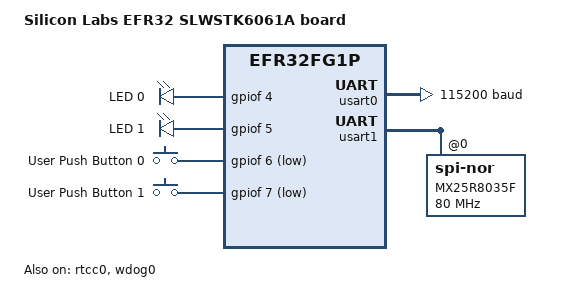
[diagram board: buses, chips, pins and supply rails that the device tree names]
/*
 * Copyright (c) 2018 Christian Taedcke
 *
 * SPDX-License-Identifier: Apache-2.0
 */

/dts-v1/;
#include <silabs/efr32fg1p133f256gm48.dtsi>

/ {
	model = "Silicon Labs EFR32 SLWSTK6061A board";
	compatible = "silabs,efr32_slwstk6061a", "silabs,efr32fg1p";

	chosen {
		zephyr,console = &usart0;
		zephyr,shell-uart = &usart0;
		zephyr,sram = &sram0;
		zephyr,flash = &flash0;
		zephyr,code-partition = &slot0_partition;
	};

	/* These aliases are provided for compatibility with samples */
	aliases {
		led0 = &led0;
		led1 = &led1;
		sw0 = &button0;
		sw1 = &button1;
		watchdog0 = &wdog0;
	};

	leds {
		compatible = "gpio-leds";
		led0: led_0 {
			gpios = <&gpiof 4 0>;
			label = "LED 0";
		};
		led1: led_1 {
			gpios = <&gpiof 5 0>;
			label = "LED 1";
		};
	};

	buttons {
		compatible = "gpio-keys";
		button0: button_0 {
			/* gpio flags need validation */
			gpios = <&gpiof 6 GPIO_ACTIVE_LOW>;
			label = "User Push Button 0";
		};
		button1: button_1 {
			/* gpio flags need validation */
			gpios = <&gpiof 7 GPIO_ACTIVE_LOW>;
			label = "User Push Button 1";
		};
	};

};

&cpu0 {
	clock-frequency = <38400000>;
};

&usart0 {
	current-speed = <115200>;
	location-rx = <GECKO_LOCATION(0) GECKO_PORT_A GECKO_PIN(1)>;
	location-tx = <GECKO_LOCATION(0) GECKO_PORT_A GECKO_PIN(0)>;
	status = "okay";
};

&usart1 {
	compatible = "silabs,gecko-spi-usart";

	#address-cells = <1>;
	#size-cells = <0>;

	location-rx = <GECKO_LOCATION(11) GECKO_PORT_C GECKO_PIN(7)>;
	location-tx = <GECKO_LOCATION(11) GECKO_PORT_C GECKO_PIN(6)>;
	location-clk = <GECKO_LOCATION(11) GECKO_PORT_C GECKO_PIN(8)>;

	cs-gpios = <&gpioa 4 0>;

	status = "okay";

	mx25r80: mx25r8035f@0 {
		compatible = "jedec,spi-nor";
		label = "MX25R8035F";
		reg = <0>;
		spi-max-frequency = <80000000>;
		size = <0x800000>;
		has-be32k;
		jedec-id = [c2 28 14];
	};
};

&rtcc0 {
	prescaler = <1>;
	status = "okay";
};

&gpio {
	location-swo = <0>;
	status = "okay";
};

&gpioa {
	status = "okay";
};

&gpiob {
	status = "okay";
};

&gpioc {
	status = "okay";
};

&gpiod {
	status = "okay";
};

&gpiof {
	status = "okay";
};

&wdog0 {
	status = "okay";
};

&flash0 {
	/*
	 * For more information, see:
	 * http://docs.zephyrproject.org/latest/guides/dts/index.html#flash-partitions
	 */
	partitions {
		compatible = "fixed-partitions";
		#address-cells = <1>;
		#size-cells = <1>;

		/* Reserve 32 kB for the bootloader */
		boot_partition: partition@0 {
			label = "mcuboot";
			reg = <0x0 0x00008000>;
			read-only;
		};

		/* Reserve 94 kB for the application in slot 0 */
		slot0_partition: partition@8000 {
			label = "image-0";
			reg = <0x0008000 0x00017800>;
		};

		/* Reserve 94 kB for the application in slot 1 */
		slot1_partition: partition@1f800 {
			label = "image-1";
			reg = <0x0001f800 0x00017800>;
		};

		/* Reserve 32 kB for the scratch partition */
		scratch_partition: partition@37000 {
			label = "image-scratch";
			reg = <0x00037000 0x00008000>;
		};

		/* Set 4Kb of storage at the end of the 256Kb of flash */
		storage_partition: partition@3f000 {
			label = "storage";
			reg = <0x0003f000 0x00001000>;
		};

	};
};
